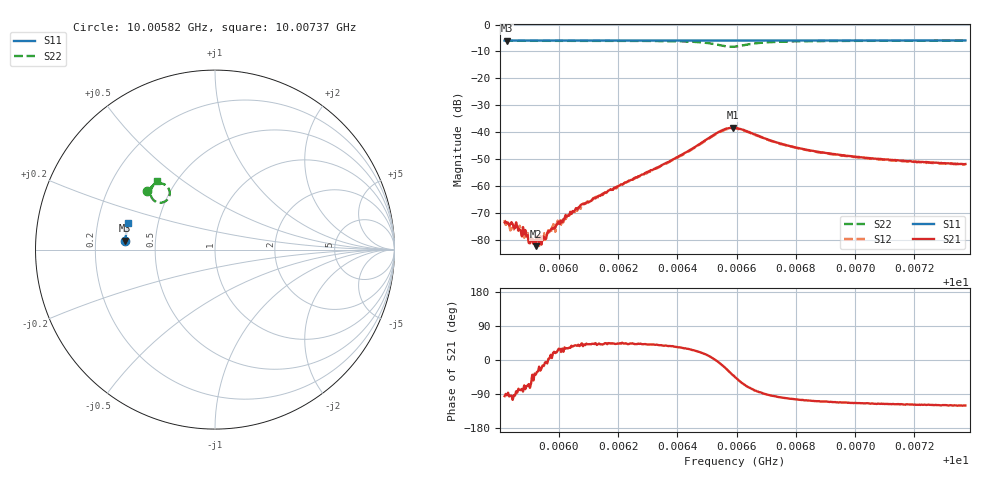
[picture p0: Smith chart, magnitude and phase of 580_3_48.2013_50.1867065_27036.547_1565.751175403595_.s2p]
#  HZ  S  RI  R  50.00
! Rohde & Schwarz Vector Network Analyzer
! Rohde-Schwarz,ZNB20-2Port,1311601062101988,3.16
! Created: UTC 3/20/2024, 12:02:04 PM
! freq[Hz]  re:S11  im:S11  re:S21  im:S21  re:S12  im:S12  re:S22  im:S22
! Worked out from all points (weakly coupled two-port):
!   401 points, 10.00582 GHz to 10.00737 GHz, reference 50 ohm
!   highest |S21| = -38.38 dB at 10.00659 GHz (marker M1); lowest = -82.4 dB at 10.00592 GHz (marker M2)
!   lowest |S11| = -6.0 dB at 10.00582 GHz (marker M3), VSWR 3.02, Z = 16.6 + j2.21 ohm
!   |S11| at or under -10 dB: nowhere
!   |S22| runs from -8.3 to -6.0 dB; largest |S21 - S12| = 0.00088
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1.0005817e10  -0.4996 0.0493  -1.97e-05 -0.000208  -4.2e-05 -0.000229  -0.3769 0.3249
1.0005824e10  -0.4995 0.0497  -1.16e-05 -0.000205  -2.19e-05 -0.000201  -0.3766 0.3253
1.0005828e10  -0.4996 0.0499  1.37e-05 -0.000208  -9.52e-07 -0.000172  -0.3763 0.3257
1.0005863e10  -0.4995 0.0523  3.64e-05 -0.000145  2.23e-05 -0.000146  -0.3746 0.3279
1.0005867e10  -0.4994 0.0524  2.99e-05 -0.000153  4.16e-05 -0.000177  -0.3743 0.328
1.0005883e10  -0.4994 0.0534  4.86e-05 -0.000115  5.69e-05 -9.37e-05  -0.3734 0.3289
1.0005906e10  -0.4992 0.0552  5.35e-05 -9.62e-05  7.1e-05 -6.93e-05  -0.3723 0.3306
1.0005922e10  -0.499 0.056  5.94e-05 -4.74e-05  7.36e-05 -5.46e-05  -0.3716 0.3314
1.0005949e10  -0.4989 0.0579  0.000108 -3.09e-05  0.000134 -4.28e-05  -0.3699 0.3332
1.0005968e10  -0.4989 0.0591  0.000144 1.09e-05  0.000131 1.05e-05  -0.3688 0.3345
1.0005988e10  -0.4987 0.0603  0.000158 5.23e-05  0.000136 3.74e-05  -0.3677 0.3357
1.0006015e10  -0.4985 0.0622  0.000223 8.83e-05  0.000195 7.83e-05  -0.3661 0.3376
1.0006077e10  -0.4981 0.0662  0.000328 0.000319  0.00032 0.000344  -0.362 0.3419
1.0006338e10  -0.4961 0.0831  0.00177 0.00144  0.00166 0.0015  -0.3348 0.3623
1.0006466e10  -0.4947 0.0916  0.00514 0.00218  0.00489 0.00242  -0.2957 0.3678
1.000654e10  -0.493 0.096  0.01 -0.00113  0.0098 -0.000536  -0.254 0.3293
1.0006587e10  -0.4927 0.0983  0.00926 -0.00772  0.00949 -0.00693  -0.2731 0.2718
1.0006594e10  -0.4926 0.0987  0.00838 -0.00845  0.0088 -0.00784  -0.2826 0.2662
1.000668e10  -0.4925 0.1041  0.000683 -0.00818  0.001 -0.00805  -0.3528 0.2894
1.0006855e10  -0.4907 0.1155  -0.00139 -0.0043  -0.00112 -0.00429  -0.3548 0.3392
1.0007116e10  -0.487 0.1319  -0.00136 -0.00275  -0.0012 -0.00275  -0.3392 0.3653
1.0007372e10  -0.483 0.1482  -0.00128 -0.00221  -0.00116 -0.00221  -0.3249 0.3813
